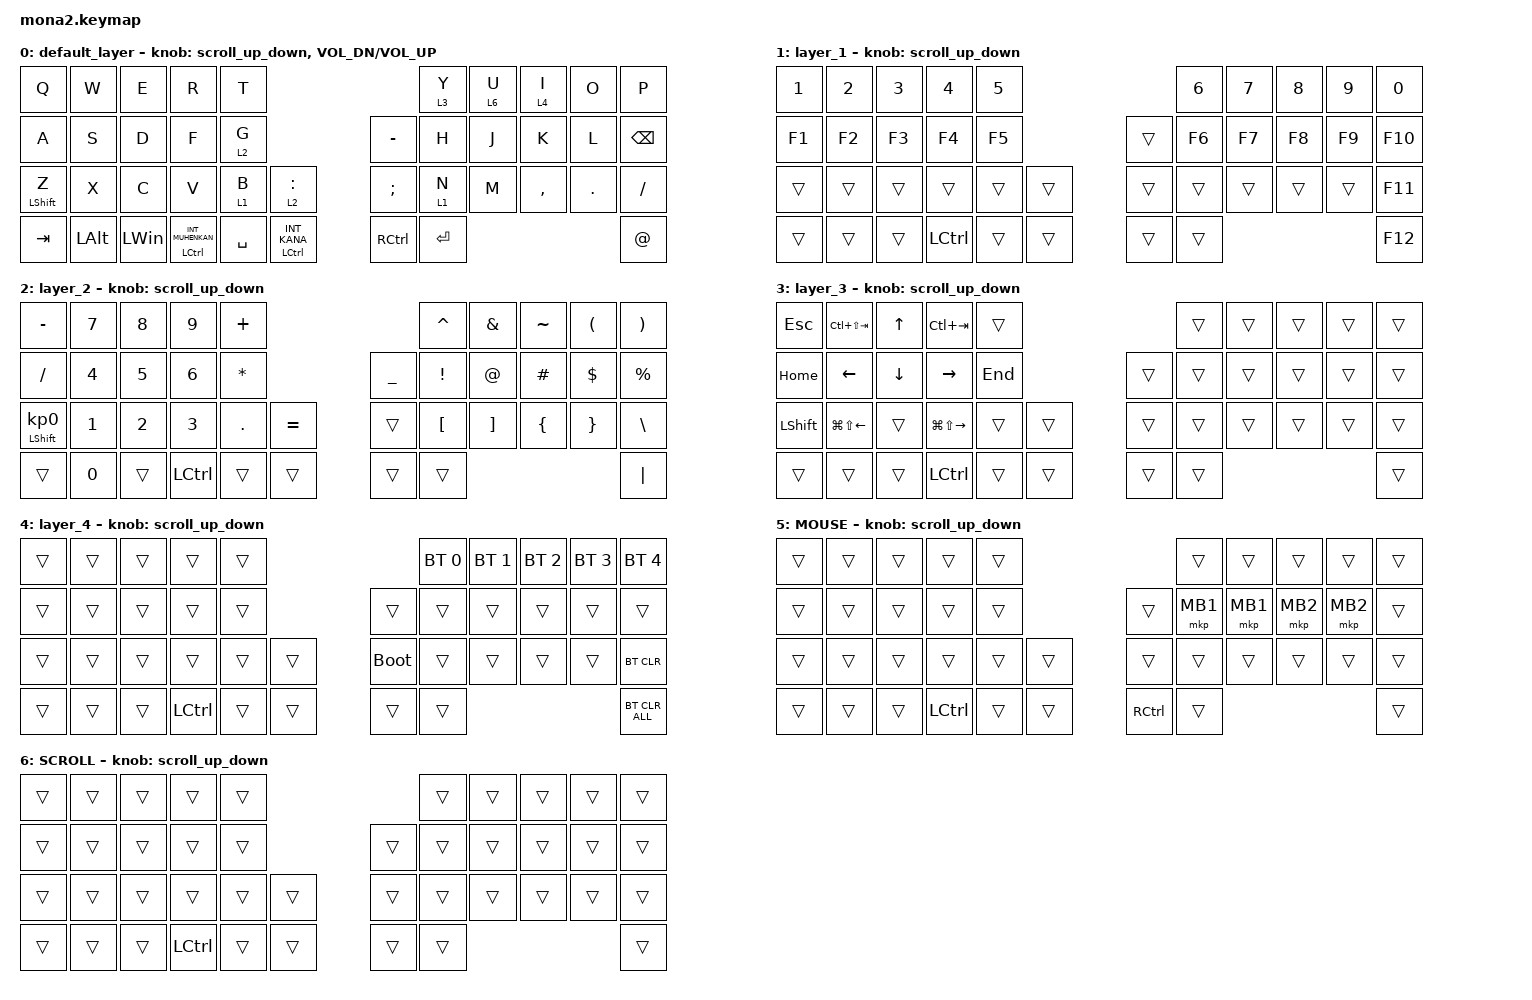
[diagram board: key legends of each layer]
#include <behaviors.dtsi>
#include <dt-bindings/zmk/bt.h>
#include <dt-bindings/zmk/keys.h>
#include <dt-bindings/zmk/pointing.h>

#define ZMK_POINTING_DEFAULT_SCRL_VAL 100
#define MOUSE 5
#define SCROLL 6

&mt {
    flavor = "balanced";
    quick-tap-ms = <0>;
};

/ {
    combos {
        compatible = "zmk,combos";

        question_mark {
            bindings = <&kp QUESTION>;
            key-positions = <21 32>;
        };
    };

    macros {
        to_layer_0: to_layer_0 {
            compatible = "zmk,behavior-macro-one-param";
            #binding-cells = <1>;
            bindings = <&to 0 &macro_param_1to1 &kp MACRO_PLACEHOLDER>;
            label = "TO_LAYER_0";
        };
    };

    behaviors {
        lt_to_layer_0: lt_to_layer_0 {
            compatible = "zmk,behavior-hold-tap";
            label = "LAYER_TAP_TO_0";
            bindings = <&mo>, <&to_layer_0>;

            #binding-cells = <2>;
            tapping-term-ms = <200>;
        };

        scroll_up_down: behavior_sensor_rotate_mouse_wheel_up_down {
            compatible = "zmk,behavior-sensor-rotate";
            #sensor-binding-cells = <0>;
            bindings = <&msc SCRL_UP>, <&msc SCRL_DOWN>;

            tap-ms = <20>;
        };
    };

    keymap {
        compatible = "zmk,keymap";

        default_layer {
            bindings = <
&kp Q             &kp W         &kp E         &kp R                   &kp T                                           &lt 3 Y    &lt 6 U  &lt 4 I    &kp O    &kp P
&kp A             &kp S         &kp D         &kp F                   &lt 2 G                          &kp MINUS      &kp H      &kp J    &kp K      &kp L    &kp BACKSPACE
&mt LEFT_SHIFT Z  &kp X         &kp C         &kp V                   &lt 1 B    &lt 2 COLON           &kp SEMICOLON  &lt 1 N    &kp M    &kp COMMA  &kp DOT  &kp SLASH
&kp TAB           &kp LEFT_ALT  &kp LEFT_WIN  &mt LCTRL INT_MUHENKAN  &kp SPACE  &mt LCTRL INT_KANA    &kp RCTRL      &kp ENTER                               &kp AT_SIGN
            >;

            sensor-bindings =
                <&scroll_up_down>,
                <&inc_dec_kp C_VOL_DN C_VOL_UP>;
        };

        layer_1 {
            bindings = <
&kp N1  &kp N2  &kp N3  &kp N4     &kp N5                    &kp N6  &kp N7  &kp N8  &kp N9  &kp N0
&kp F1  &kp F2  &kp F3  &kp F4     &kp F5            &trans  &kp F6  &kp F7  &kp F8  &kp F9  &kp F10
&trans  &trans  &trans  &trans     &trans  &trans    &trans  &trans  &trans  &trans  &trans  &kp F11
&trans  &trans  &trans  &kp LCTRL  &trans  &trans    &trans  &trans                          &kp F12
            >;

            sensor-bindings = <&scroll_up_down>;
        };

        layer_2 {
            bindings = <
&kp MINUS                   &kp N7  &kp N8  &kp N9     &kp PLUS                                   &kp CARET         &kp AMPERSAND      &kp TILDE       &kp LEFT_PARENTHESIS  &kp RIGHT_PARENTHESIS
&kp SLASH                   &kp N4  &kp N5  &kp N6     &kp ASTERISK               &kp UNDERSCORE  &kp EXCLAMATION   &kp AT_SIGN        &kp HASH        &kp DOLLAR            &kp PERCENT
&mt LEFT_SHIFT KP_NUMBER_0  &kp N1  &kp N2  &kp N3     &kp PERIOD    &kp EQUAL    &trans          &kp LEFT_BRACKET  &kp RIGHT_BRACKET  &kp LEFT_BRACE  &kp RIGHT_BRACE       &kp BACKSLASH
&trans                      &kp N0  &trans  &kp LCTRL  &trans        &trans       &trans          &trans                                                                     &kp PIPE
            >;

            sensor-bindings = <&scroll_up_down>;
        };

        layer_3 {
            bindings = <
&kp ESCAPE      &kp LC(LS(TAB))         &kp UP_ARROW    &kp LC(TAB)              &trans                     &trans  &trans  &trans  &trans  &trans
&kp HOME        &kp LEFT_ARROW          &kp DOWN_ARROW  &kp RIGHT_ARROW          &kp END            &trans  &trans  &trans  &trans  &trans  &trans
&kp LEFT_SHIFT  &kp LG(LS(LEFT_ARROW))  &trans          &kp LG(LS(RIGHT_ARROW))  &trans   &trans    &trans  &trans  &trans  &trans  &trans  &trans
&trans          &trans                  &trans          &kp LCTRL                &trans   &trans    &trans  &trans                          &trans
            >;

            sensor-bindings = <&scroll_up_down>;
        };

        layer_4 {
            bindings = <
&trans  &trans  &trans  &trans     &trans                         &bt BT_SEL 0  &bt BT_SEL 1  &bt BT_SEL 2  &bt BT_SEL 3  &bt BT_SEL 4
&trans  &trans  &trans  &trans     &trans            &trans       &trans        &trans        &trans        &trans        &trans
&trans  &trans  &trans  &trans     &trans  &trans    &bootloader  &trans        &trans        &trans        &trans        &bt BT_CLR
&trans  &trans  &trans  &kp LCTRL  &trans  &trans    &trans       &trans                                                  &bt BT_CLR_ALL
            >;

            sensor-bindings = <&scroll_up_down>;
        };

        MOUSE {
            bindings = <
&trans  &trans  &trans  &trans     &trans                       &trans    &trans    &trans    &trans    &trans
&trans  &trans  &trans  &trans     &trans            &trans     &mkp MB1  &mkp MB1  &mkp MB2  &mkp MB2  &trans
&trans  &trans  &trans  &trans     &trans  &trans    &trans     &trans    &trans    &trans    &trans    &trans
&trans  &trans  &trans  &kp LCTRL  &trans  &trans    &kp RCTRL  &trans                                  &trans
            >;

            sensor-bindings = <&scroll_up_down>;
        };

        SCROLL {
            bindings = <
&trans  &trans  &trans  &trans     &trans                    &trans  &trans  &trans  &trans  &trans
&trans  &trans  &trans  &trans     &trans            &trans  &trans  &trans  &trans  &trans  &trans
&trans  &trans  &trans  &trans     &trans  &trans    &trans  &trans  &trans  &trans  &trans  &trans
&trans  &trans  &trans  &kp LCTRL  &trans  &trans    &trans  &trans                          &trans
            >;

            sensor-bindings = <&scroll_up_down>;
        };
    };
};
